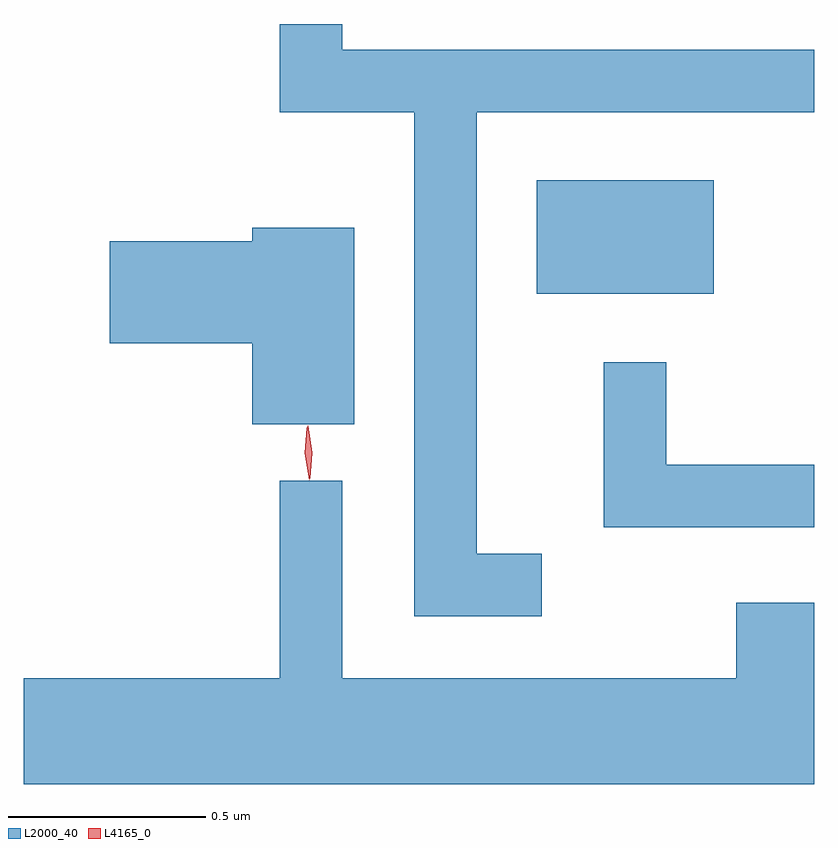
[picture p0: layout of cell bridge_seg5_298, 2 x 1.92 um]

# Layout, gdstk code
import gdstk
lib = gdstk.Library(unit=1e-6, precision=1e-09)
def R(c, l, rs):  # rectangles x0, y0, x1, y1
    for r in rs: c.add(gdstk.rectangle(r[:2], r[2:], *l))
def P(c, l, *ps):  # polygons
    for p in ps: c.add(gdstk.Polygon(p, *l))
L2000_40 = (2000, 40)
L4165_0 = (4165, 0)

bridge_seg5_298 = lib.new_cell('bridge_seg5_298')
R(bridge_seg5_298, L2000_40, [(620.786,1520.196,621.234,1520.484)])
P(bridge_seg5_298, L2000_40, [(620.798,1519.539),(620.634,1519.539),(620.634,1520.656),(621.488,1520.656),(621.488,1520.814),(620.294,1520.814),(620.294,1520.879),(620.136,1520.879),(620.136,1520.656),(620.476,1520.656),(620.476,1519.381),(620.798,1519.381)],
  [(620.324,1520.364),(620.066,1520.364),(620.066,1520.329),(619.706,1520.329),(619.706,1520.071),(620.066,1520.071),(620.066,1519.866),(620.324,1519.866)],
  [(621.488,1519.764),(621.114,1519.764),(621.114,1520.023),(620.956,1520.023),(620.956,1519.606),(621.488,1519.606)],
  [(621.488,1519.414),(621.291,1519.414),(621.291,1519.224),(620.294,1519.224),(620.294,1519.723),(620.136,1519.723),(620.136,1519.224),(619.488,1519.224),(619.488,1518.956),(621.488,1518.956)])
P(bridge_seg5_298, L4165_0, [(620.21,1519.725),(620.21,1519.725),(620.199,1519.793),(620.207,1519.862),(620.207,1519.862),(620.208,1519.862),(620.218,1519.794),(620.21,1519.725)],
  [(620.212,1519.728),(620.212,1519.729),(620.199,1519.793),(620.204,1519.858),(620.205,1519.859),(620.205,1519.858),(620.218,1519.794),(620.213,1519.729)])

lib.write_gds('bridge_seg5_298.gds')
